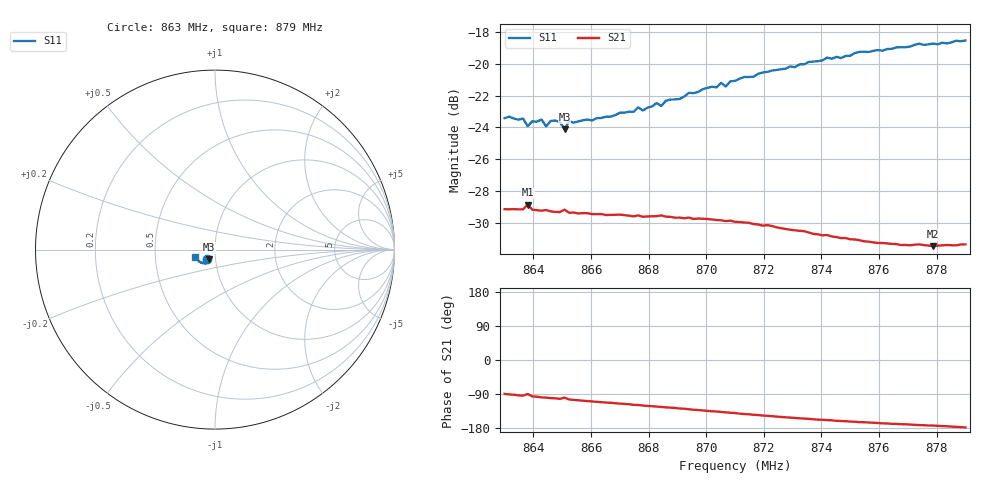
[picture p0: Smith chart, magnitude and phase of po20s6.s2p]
# HZ S RI R 50
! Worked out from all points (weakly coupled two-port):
!   101 points, 863 MHz to 879 MHz, reference 50 ohm
!   highest |S21| = -28.85 dB at 863.8 MHz (marker M1); lowest = -31.5 dB at 877.88 MHz (marker M2)
!   lowest |S11| = -24.1 dB at 865.08 MHz (marker M3), VSWR 1.13, Z = 46.7 - j5.01 ohm
!   |S11| at or under -10 dB: start of sweep to end of sweep
!   S12 and S22 are empty: the file has one direction only
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8.63e8  -0.0421 -0.0527  0.000297 -0.0349  0 0  0 0
8.6364e8  -0.0417 -0.0528  -0.00247 -0.0348  0 0  0 0
8.638e8  -0.0325 -0.0547  0.000193 -0.0361  0 0  0 0
8.6428e8  -0.0383 -0.0547  -0.00516 -0.0341  0 0  0 0
8.6444e8  -0.0355 -0.0527  -0.00561 -0.0342  0 0  0 0
8.6476e8  -0.0365 -0.0553  -0.00663 -0.0336  0 0  0 0
8.6508e8  -0.0318 -0.0535  -0.00568 -0.0343  0 0  0 0
8.6524e8  -0.0357 -0.0555  -0.00832 -0.033  0 0  0 0
8.6572e8  -0.0334 -0.0574  -0.0102 -0.0324  0 0  0 0
8.6748e8  -0.0325 -0.0627  -0.0157 -0.0292  0 0  0 0
8.6764e8  -0.0347 -0.0642  -0.0161 -0.0292  0 0  0 0
8.678e8  -0.0348 -0.0622  -0.0166 -0.0286  0 0  0 0
8.6828e8  -0.0344 -0.0669  -0.018 -0.0279  0 0  0 0
8.6844e8  -0.0352 -0.0647  -0.0186 -0.0277  0 0  0 0
8.694e8  -0.0395 -0.0708  -0.0211 -0.0251  0 0  0 0
8.7052e8  -0.0456 -0.0742  -0.0236 -0.022  0 0  0 0
8.7068e8  -0.044 -0.0725  -0.0239 -0.0213  0 0  0 0
8.71e8  -0.0472 -0.0747  -0.0244 -0.0205  0 0  0 0
8.7372e8  -0.0679 -0.0756  -0.0267 -0.0117  0 0  0 0
8.7644e8  -0.0924 -0.0621  -0.0266 -0.00542  0 0  0 0
8.7788e8  -0.1045 -0.0499  -0.0265 -0.00326  0 0  0 0
8.79e8  -0.1115 -0.04  -0.027 -0.001  0 0  0 0
